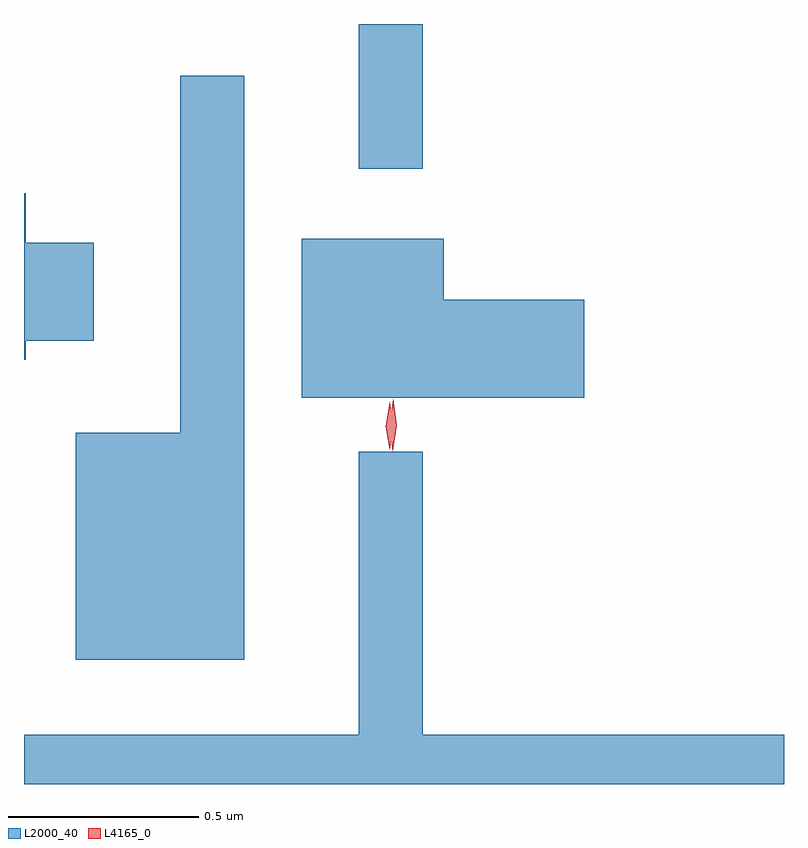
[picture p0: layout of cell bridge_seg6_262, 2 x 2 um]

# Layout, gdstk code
import gdstk
lib = gdstk.Library(unit=1e-6, precision=1e-09)
def R(c, l, rs):  # rectangles x0, y0, x1, y1
    for r in rs: c.add(gdstk.rectangle(r[:2], r[2:], *l))
def P(c, l, *ps):  # polygons
    for p in ps: c.add(gdstk.Polygon(p, *l))
L2000_40 = (2000, 40)
L4165_0 = (4165, 0)

bridge_seg6_262 = lib.new_cell('bridge_seg6_262')
R(bridge_seg6_262, L2000_40, [(1397.421,1573.993,1397.589,1574.374)])
P(bridge_seg6_262, L2000_40, [(1397.119,1574.238),(1396.951,1574.238),(1396.951,1573.299),(1396.676,1573.299),(1396.676,1572.701),(1397.119,1572.701)],
  [(1396.544,1573.541),(1396.724,1573.541),(1396.724,1573.799),(1396.544,1573.799),(1396.544,1573.929),(1396.54,1573.929),(1396.54,1573.491),(1396.544,1573.491)],
  [(1398.014,1573.649),(1397.644,1573.649),(1397.644,1573.809),(1397.271,1573.809),(1397.271,1573.391),(1398.014,1573.391)],
  [(1398.54,1572.504),(1397.589,1572.504),(1397.589,1573.248),(1397.421,1573.248),(1397.421,1572.504),(1396.54,1572.504),(1396.54,1572.374),(1398.54,1572.374)])
P(bridge_seg6_262, L4165_0, [(1397.51,1573.25),(1397.51,1573.25),(1397.501,1573.318),(1397.512,1573.386),(1397.512,1573.386),(1397.512,1573.386),(1397.521,1573.318),(1397.511,1573.25)],
  [(1397.502,1573.253),(1397.492,1573.316),(1397.502,1573.379),(1397.502,1573.38),(1397.503,1573.379),(1397.512,1573.316),(1397.503,1573.253),(1397.503,1573.253)])

lib.write_gds('bridge_seg6_262.gds')
